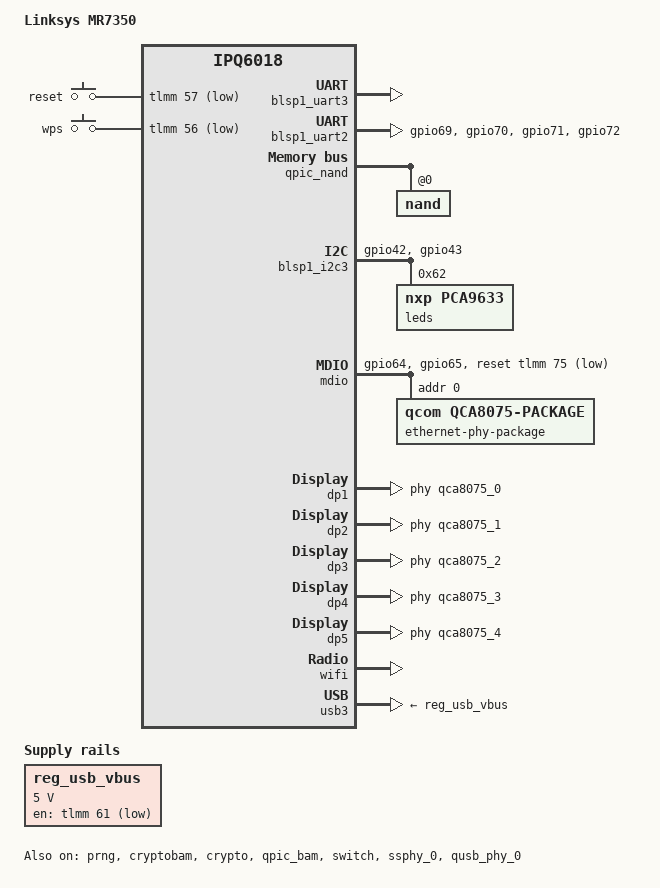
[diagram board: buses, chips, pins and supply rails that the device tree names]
// SPDX-License-Identifier: GPL-2.0-or-later OR BSD-3-Clause

/dts-v1/;

#include "ipq6018-256m.dtsi"
#include "ipq6018-ess.dtsi"
#include "ipq6018-thermal.dtsi"
#include "ipq6018-cp-cpu.dtsi"
#include <dt-bindings/input/input.h>
#include <dt-bindings/gpio/gpio.h>

/ {
	model = "Linksys MR7350";
	compatible = "linksys,mr7350", "qcom,ipq6018";

	aliases {
		serial0 = &blsp1_uart3;
		serial1 = &blsp1_uart2;
		led-boot = &led_system_blue;
		led-failsafe = &led_system_red;
		led-running = &led_system_blue;
		led-upgrade = &led_system_blue;
		/*
		 * Aliases as required by u-boot
		 * to patch MAC addresses
		 */
		ethernet0 = &dp1;
		ethernet1 = &dp2;
		ethernet2 = &dp3;
		ethernet3 = &dp4;
		ethernet4 = &dp5;
	};

	chosen {
		stdout-path = "serial0:115200n8";
		bootargs-append = " ubi.block=0,rootfs root=/dev/ubiblock0_0";
	};

	keys {
		compatible = "gpio-keys";

		reset-button {
			label = "reset";
			gpios = <&tlmm 57 GPIO_ACTIVE_LOW>;
			linux,code = <KEY_RESTART>;
		};

		wps-button {
			label = "wps";
			gpios = <&tlmm 56 GPIO_ACTIVE_LOW>;
			linux,code = <KEY_WPS_BUTTON>;
		};
	};

	reg_usb_vbus: regulator-usb-vbus {
		compatible = "regulator-fixed";
		regulator-name = "usb_vbus";
		regulator-min-microvolt = <5000000>;
		regulator-max-microvolt = <5000000>;
		gpio = <&tlmm 61 GPIO_ACTIVE_LOW>;
		regulator-always-on;
	};
};

&tlmm {
	i2c_1_pins: i2c-1-state {
		pins = "gpio42", "gpio43";
		function = "blsp2_i2c";
		drive-strength = <8>;
	};

	mdio_pins: mdio-state {
		mdc-pins {
			pins = "gpio64";
			function = "mdc";
			drive-strength = <8>;
			bias-pull-up;
		};

		mdio-pins {
			pins = "gpio65";
			function = "mdio";
			drive-strength = <8>;
			bias-pull-up;
		};
	};

	serial_2_pins: serial2-pinmux {
		pins = "gpio69", "gpio70", "gpio71", "gpio72";
		function = "blsp1_uart";
		drive-strength = <8>;
		bias-disable;
	};
};

&blsp1_uart3 {
	pinctrl-0 = <&serial_3_pins>;
	pinctrl-names = "default";
	status = "okay";
};

&blsp1_uart2 {
	pinctrl-0 = <&serial_2_pins>;
	pinctrl-names = "default";
	dmas = <&blsp_dma 2>, <&blsp_dma 3>;
	dma-names = "tx", "rx";

	status = "okay";
};

&prng {
	status = "okay";
};

&cryptobam {
	status = "okay";
};

&crypto {
	status = "okay";
};

&qpic_bam {
	status = "okay";
};

&qpic_nand {
	status = "okay";

	nand@0 {
		reg = <0>;

		nand-ecc-strength = <4>;
		nand-ecc-step-size = <512>;
		nand-bus-width = <8>;

		partitions {
			compatible = "qcom,smem-part";
		};
	};
};


&blsp1_i2c3 {
	pinctrl-0 = <&i2c_1_pins>;
	pinctrl-names = "default";
	status = "okay";

	leds@62 {
		compatible = "nxp,pca9633";
		#address-cells = <1>;
		#size-cells = <0>;
		reg = <0x62>;

		nxp,hw-blink;

		led_system_red: red@0 {
			label = "red";
			reg = <0>;
		};

		led_system_green: green@1 {
			label = "green";
			reg = <1>;
		};

		led_system_blue: blue@2 {
			label = "blue";
			reg = <2>;
			linux,default-trigger = "default-on";
		};
	};
};


&mdio {
	status = "okay";

	pinctrl-0 = <&mdio_pins>;
	pinctrl-names = "default";
	reset-gpios = <&tlmm 75 GPIO_ACTIVE_LOW>;

	ethernet-phy-package@0 {
		#address-cels = <1>;
		#size-cells = <0>;
		compatible = "qcom,qca8075-package";
		reg = <0>;

		qca8075_0: ethernet-phy@0 {
			compatible = "ethernet-phy-ieee802.3-c22";
			reg = <0>;
		};

		qca8075_1: ethernet-phy@1 {
			compatible = "ethernet-phy-ieee802.3-c22";
			reg = <1>;
		};

		qca8075_2: ethernet-phy@2 {
			compatible = "ethernet-phy-ieee802.3-c22";
			reg = <2>;
		};

		qca8075_3: ethernet-phy@3 {
			compatible = "ethernet-phy-ieee802.3-c22";
			reg = <3>;
		};

		qca8075_4: ethernet-phy@4 {
			compatible = "ethernet-phy-ieee802.3-c22";
			reg = <4>;
		};
	};
};

&switch {
	status = "okay";

	switch_lan_bmp = <(ESS_PORT1|ESS_PORT2|ESS_PORT3|ESS_PORT4)>; /* lan port bitmap */
	switch_wan_bmp = <(ESS_PORT5)>; /* wan port bitmap */
	switch_mac_mode = <MAC_MODE_PSGMII>; /* mac mode for uniphy instance0*/

	qcom,port_phyinfo {
		port@0 {
			port_id = <1>;
			phy_address = <0>;
		};
		port@1 {
			port_id = <2>;
			phy_address = <1>;
		};
		port@2 {
			port_id = <3>;
			phy_address = <2>;
		};
		port@3 {
			port_id = <4>;
			phy_address = <3>;
		};
		port@4 {
			port_id = <5>;
			phy_address = <4>;
		};
	};
};

&edma {
	status = "okay";
};

&dp1 {
	status = "okay";

	phy-handle = <&qca8075_0>;
	label = "eth0";
};

&dp2 {
	status = "okay";

	phy-handle = <&qca8075_1>;
	label = "eth1";
};

&dp3 {
	status = "okay";

	phy-handle = <&qca8075_2>;
	label = "eth2";
};

&dp4 {
	status = "okay";

	phy-handle = <&qca8075_3>;
	label = "eth3";
};

&dp5 {
	status = "okay";

	phy-handle = <&qca8075_4>;
	label = "eth4";
};

&wifi {
	status = "okay";

	qcom,ath11k-calibration-variant = "Linksys-MR7350";
};

&ssphy_0 {
	status = "okay";
};

&qusb_phy_0 {
	status = "okay";
};

&usb3 {
	vbus-supply = <&reg_usb_vbus>;
	status = "okay";
};
